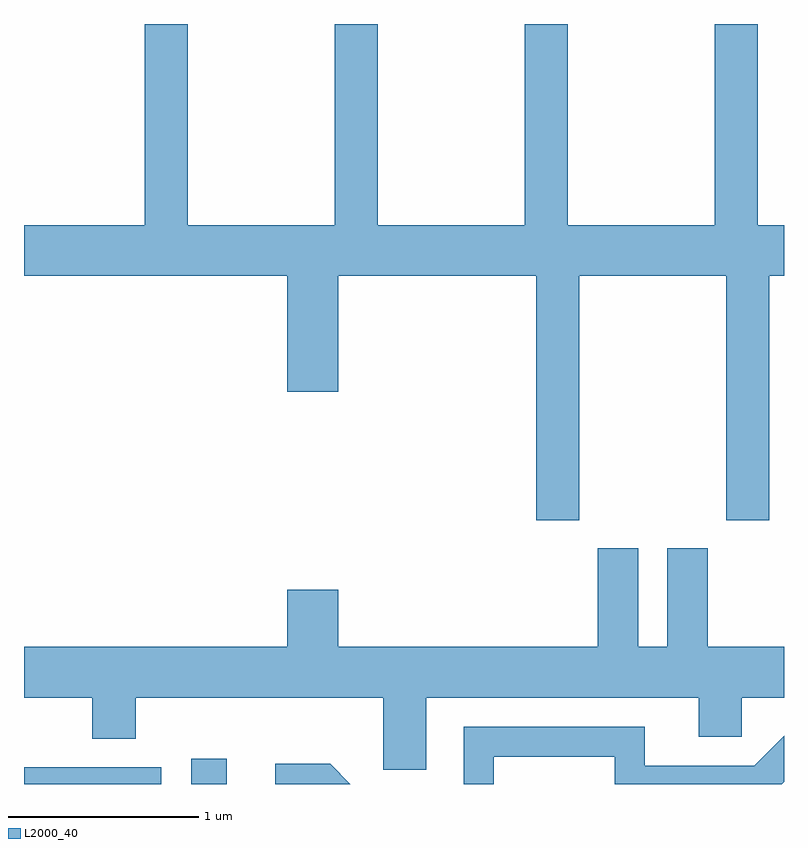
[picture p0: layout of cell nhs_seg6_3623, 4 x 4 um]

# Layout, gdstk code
import gdstk
lib = gdstk.Library(unit=1e-6, precision=1e-09)
def R(c, l, rs):  # rectangles x0, y0, x1, y1
    for r in rs: c.add(gdstk.rectangle(r[:2], r[2:], *l))
def P(c, l, *ps):  # polygons
    for p in ps: c.add(gdstk.Polygon(p, *l))
L2000_40 = (2000, 40)

nhs_seg6_3623 = lib.new_cell('nhs_seg6_3623')
R(nhs_seg6_3623, L2000_40, [(293.611,1636.162,294.334,1636.249), (294.491,1636.162,294.679,1636.294)])
P(nhs_seg6_3623, L2000_40, [(296.534,1638.836),(297.306,1638.836),(297.306,1637.551),(297.534,1637.551),(297.534,1638.836),(297.611,1638.836),(297.611,1639.104),(297.474,1639.104),(297.474,1640.162),(297.246,1640.162),(297.246,1639.104),(296.474,1639.104),(296.474,1640.162),(296.246,1640.162),(296.246,1639.104),(295.474,1639.104),(295.474,1640.162),(295.246,1640.162),(295.246,1639.104),(294.474,1639.104),(294.474,1640.162),(294.246,1640.162),(294.246,1639.104),(293.611,1639.104),(293.611,1638.836),(294.996,1638.836),(294.996,1638.226),(295.264,1638.226),(295.264,1638.836),(296.306,1638.836),(296.306,1637.551),(296.534,1637.551)],
  [(295.729,1636.616),(297.161,1636.616),(297.161,1636.411),(297.389,1636.411),(297.389,1636.616),(297.611,1636.616),(297.611,1636.884),(297.209,1636.884),(297.209,1637.404),(296.996,1637.404),(296.996,1636.884),(296.844,1636.884),(296.844,1637.404),(296.631,1637.404),(296.631,1636.884),(295.264,1636.884),(295.264,1637.184),(294.996,1637.184),(294.996,1636.884),(293.611,1636.884),(293.611,1636.616),(293.971,1636.616),(293.971,1636.401),(294.199,1636.401),(294.199,1636.616),(295.501,1636.616),(295.501,1636.236),(295.729,1636.236)],
  [(296.084,1636.306),(296.721,1636.306),(296.721,1636.162),(297.598,1636.162),(297.611,1636.175),(297.611,1636.416),(297.454,1636.259),(296.879,1636.259),(296.879,1636.464),(295.926,1636.464),(295.926,1636.162),(296.084,1636.162)],
  [(295.222,1636.269),(294.933,1636.269),(294.933,1636.162),(295.329,1636.162)])

lib.write_gds('nhs_seg6_3623.gds')
